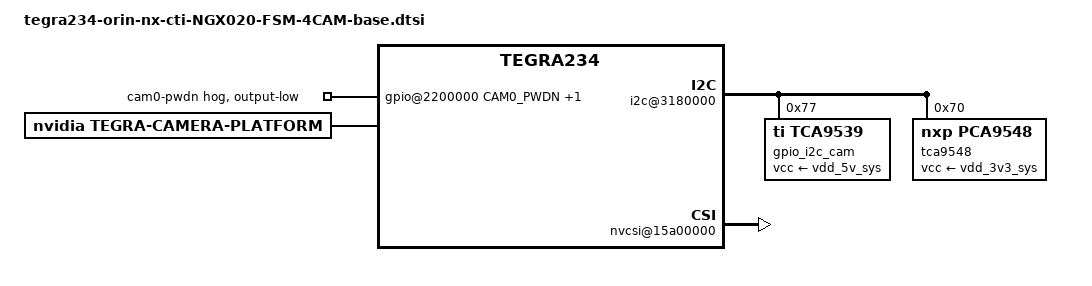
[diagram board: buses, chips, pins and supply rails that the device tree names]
/*
 * Copyright (c) 2023, Connect Tech Inc.  All rights reserved.
 *
 * This program is free software; you can redistribute it and/or modify it
 * under the terms and conditions of the GNU General Public License,
 * version 2, as published by the Free Software Foundation.
 *
 * This program is distributed in the hope it will be useful, but WITHOUT
 * ANY WARRANTY; without even the implied warranty of MERCHANTABILITY or
 * FITNESS FOR A PARTICULAR PURPOSE.  See the GNU General Public License for
 * more details.
 *
 * You should have received a copy of the GNU General Public License
 * along with this program.  If not, see <http://www.gnu.org/licenses/>.
 */

#include "dt-bindings/gpio/tegra234-gpio.h"

#define CAM0_PWDN	TEGRA234_MAIN_GPIO(H, 6)
#define CAM1_PWDN	TEGRA234_MAIN_GPIO(AC, 0)

/* PCA9539 Pxx bus-port define*/
#define CAM0_RST_0      0
#define CAM1_RST_0      2
#define CAM2_RST_0      4

#define CAM0_PWDN_1     1 //creset camA
#define CAM1_PWDN_1     3 //creset camB
#define CAM2_PWDN_0     5
#define CAM2_PWDN_1     6 //creset camC
#define CAM3_RST_0      7
#define CAM3_PWDN_0     8
#define CAM3_PWDN_1     9 //creset camD
#define MIPI_SW_SEL_1     10 // P12
#define MIPI_SW_SEL_2   11

#define CAMERA_I2C_MUX_BUS(x) (0x1E + x)

//tegra sinteface and lane polarity
#define I2C0_SINTERFACE "serial_a"
#define I2C1_SINTERFACE "serial_c"
#define I2C2_SINTERFACE "serial_d"
#define I2C3_SINTERFACE "serial_b"


#define I2C0_LANEPOLARITY "6"
#define I2C1_LANEPOLARITY "0"
#define I2C2_LANEPOLARITY "0"
#define I2C3_LANEPOLARITY "6"

#define VI_CSI_PORT_INDEX0 <0>
#define VI_CSI_PORT_INDEX1 <2>
#define VI_CSI_PORT_INDEX2 <3>
#define VI_CSI_PORT_INDEX3 <1>

//This will serve as the default bus_width...
#define BUS_WIDTH_INDEX0 <2>
#define BUS_WIDTH_INDEX1 <2>
#define BUS_WIDTH_INDEX2 <2>
#define BUS_WIDTH_INDEX3 <2>

/ {
		//GPIO controller nodes
		
		i2c@3180000{
			gpio_i2c_cam: gpio@77 {
				status = "okay";
				compatible = "ti,tca9539";
				reg = <0x77>;
				gpio-controller;
				#gpio-cells = <2>;
				#address-cells = <1>;
				#size-cells = <0>;
				vcc-supply = <&vdd_5v_sys>; //battery_reg
				camera-rst{
					gpio-hog;
					output-low;
					gpios = <0 0 2 0 4 0 7 0 10 0 11 0>;
					label = "cam0_rst", "cam1_rst", "cam2_rst", "cam3_rst", "mipi_sel1", "mipi_sel2" ;
				};
				camera-pwr{
					gpio-hog;
					output-high;
					gpios = <1 0 3 0 5 0 6 0 8 0 9 0>;
					label = "cam0_pw1", "cam1_pw1", "cam2_pw0", "cam2_pw1", "cam3_pw0", "cam3_pw1";
				};
			};
			tca9548@70 {
				compatible = "nxp,pca9548";
				reg = <0x70>;
				#address-cells = <1>;
				#size-cells = <0>;
				skip_mux_detect;
				vcc-supply = <&vdd_3v3_sys>;
				force_bus_start = <CAMERA_I2C_MUX_BUS(0)>;
				status = "okay";	
				i2c@0 {
					reg = <0>;
					i2c-mux,deselect-on-exit;
					#address-cells = <1>;
					#size-cells = <0>;
					status = "okay";
				};
				i2c@1 {
					reg = <1>;
					i2c-mux,deselect-on-exit;
					#address-cells = <1>;
					#size-cells = <0>;
					status = "okay";		
				};
				i2c@2 {
					reg = <2>;
					i2c-mux,deselect-on-exit;
					#address-cells = <1>;
					#size-cells = <0>;
					status = "okay";
				};
				i2c@3 {
					reg = <3>;
					i2c-mux,deselect-on-exit;
					#address-cells = <1>;
					#size-cells = <0>;
					status = "okay";					
				};
			};
		};
	
		framos_platform_adapter {
			cam,use-cam-gpio = "true"; 
		};
		
		gpio@2200000 {
			status = "okay";
			camera-control-output-low {
				gpio-hog;
				output-low;
				gpios = <CAM0_PWDN 0 CAM1_PWDN 0>;
				label = "cam0-pwdn", "cam1-pwdn";
				status = "okay";
				};
		};
			
		tegra-capture-vi {
			num-channels = <4>;
			status = "okay";
			ports {
				#address-cells = <1>;
				#size-cells = <0>;
				port@0 {
					status = "okay";
					reg = <0>;
					vi_in0: endpoint {
						status = "okay";
						port-index = VI_CSI_PORT_INDEX0;
						bus-width = BUS_WIDTH_INDEX0;
						remote-endpoint = <&csi_out0>;
					};
				};
				port@1 {
					status = "okay";
					reg = <1>;
					vi_in1: endpoint {
						status = "okay";
						port-index = VI_CSI_PORT_INDEX1;
						bus-width = BUS_WIDTH_INDEX1;
						remote-endpoint = <&csi_out1>;
					};
				};
				port@2 {
					status = "okay";
					reg = <2>;
					vi_in2: endpoint {
						status = "okay";
						port-index = VI_CSI_PORT_INDEX2;
						bus-width = BUS_WIDTH_INDEX2;
						remote-endpoint = <&csi_out2>;
					};
				};
				port@3 {
					status = "okay";
					reg = <3>;
					vi_in3: endpoint {
						status = "okay";
						port-index = VI_CSI_PORT_INDEX3;
						bus-width = BUS_WIDTH_INDEX3;
						remote-endpoint = <&csi_out3>;
					};
				};

			};
		};

	host1x@13e00000 {
		nvcsi@15a00000 {
			num-channels = <4>;
			#address-cells = <1>;
			#size-cells = <0>;
			status = "okay";
			channel@0 {
				status = "okay";
				reg = <0>;
				ports {
					#address-cells = <1>;
					#size-cells = <0>;
					status = "okay";
					port@0 {
						status = "okay";
						reg = <0>;
						csi_in0: endpoint@0 {
							status = "okay";
							port-index = VI_CSI_PORT_INDEX0;
							bus-width = BUS_WIDTH_INDEX0;
							remote-endpoint = <&vi_out0>;
						};
					};
					port@1 {
						status = "okay";
						reg = <1>;
						csi_out0: endpoint@1 {
							remote-endpoint = <&vi_in0>;
						};
					};
				};
			};
			channel@1 {
				status = "okay";
				reg = <1>;
				ports {
					#address-cells = <1>;
					#size-cells = <0>;
					status = "okay";
					port@0 {
						status = "okay";
						reg = <0>;
						csi_in1: endpoint@2 {
							status = "okay";
							port-index = VI_CSI_PORT_INDEX1;
							bus-width = BUS_WIDTH_INDEX1;
							remote-endpoint = <&vi_out1>;
						};
					};
					port@1 {
						status = "okay";
						reg = <1>;
						csi_out1: endpoint@3 {
							remote-endpoint = <&vi_in1>;
						};
					};
				};
			};
			channel@2 {
				status = "okay";
				reg = <2>;
				ports {
					#address-cells = <1>;
					#size-cells = <0>;
					status = "okay";
					port@0 {
						status = "okay";
						reg = <0>;
						csi_in2: endpoint@4 {
							status = "okay";
							port-index = VI_CSI_PORT_INDEX2;
							bus-width = BUS_WIDTH_INDEX2;
							remote-endpoint = <&vi_out2>;
						};
					};
					port@1 {
						status = "okay";
						reg = <1>;
						csi_out2: endpoint@5 {
							remote-endpoint = <&vi_in2>;
							status = "okay";
						};
					};
				};
			};
			channel@3 {
				status = "okay";
				reg = <3>;
				ports {
					#address-cells = <1>;
					#size-cells = <0>;
					status = "okay";
					port@0 {
						status = "okay";
						reg = <0>;
						csi_in3: endpoint@6 {
							status = "okay";
							port-index = VI_CSI_PORT_INDEX3;
							bus-width = BUS_WIDTH_INDEX3;
							remote-endpoint = <&vi_out3>;
						};
					};
					port@1 {
						status = "okay";
						reg = <1>;
						csi_out3: endpoint@7 {
							remote-endpoint = <&vi_in3>;
							status = "okay";
						};
					};
				};
			};

		};
	};

	tegra-camera-platform {
		compatible = "nvidia, tegra-camera-platform";

		num_csi_lanes = <8>;
		max_lane_speed = <1500000>;
		min_bits_per_pixel = <10>;
		vi_peak_byte_per_pixel = <2>;
		vi_bw_margin_pct = <25>;
		max_pixel_rate = <240000>;
		isp_peak_byte_per_pixel = <5>;
		isp_bw_margin_pct = <25>;
	};
};
